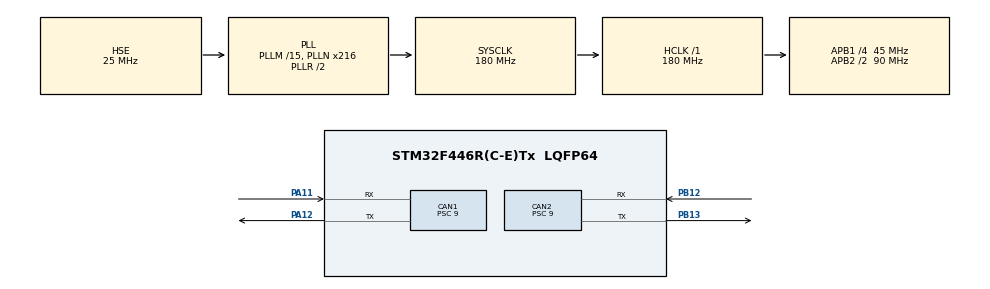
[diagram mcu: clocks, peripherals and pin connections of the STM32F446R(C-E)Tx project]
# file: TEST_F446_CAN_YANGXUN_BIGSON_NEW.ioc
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CAN1.BS1=CAN_BS1_2TQ
CAN1.BS2=CAN_BS2_2TQ
CAN1.CalculateBaudRate=1000000
CAN1.CalculateTimeBit=1000
CAN1.CalculateTimeQuantum=200.0
CAN1.Prescaler=9
CAN2.BS1=CAN_BS1_2TQ
CAN2.BS2=CAN_BS2_2TQ
CAN2.CalculateBaudRate=1000000
CAN2.CalculateTimeBit=1000
CAN2.CalculateTimeQuantum=200.0
CAN2.Prescaler=9
Mcu.Family=STM32F4
Mcu.Name=STM32F446R(C-E)Tx
Mcu.Package=LQFP64
NVIC.CAN1_RX0_IRQn=true\:0\:0\:false\:false\:true\:true\:true\:true
NVIC.CAN1_SCE_IRQn=true\:0\:0\:false\:false\:true\:true\:true\:true
NVIC.CAN2_RX1_IRQn=true\:0\:0\:false\:false\:true\:true\:true\:true
NVIC.CAN2_SCE_IRQn=true\:0\:0\:false\:false\:true\:true\:true\:true
NVIC.PriorityGroup=NVIC_PRIORITYGROUP_4
PA11.Mode=CAN_Activate
PA11.Signal=CAN1_RX
PA12.Mode=CAN_Activate
PA12.Signal=CAN1_TX
PA13.Mode=Serial_Wire
PA13.Signal=SYS_JTMS-SWDIO
PA14.Mode=Serial_Wire
PA14.Signal=SYS_JTCK-SWCLK
PB12.Mode=CAN_Activate
PB12.Signal=CAN2_RX
PB13.Mode=CAN_Activate
PB13.Signal=CAN2_TX
PH0-OSC_IN.Mode=HSE-External-Oscillator
PH0-OSC_IN.Signal=RCC_OSC_IN
PH1-OSC_OUT.Mode=HSE-External-Oscillator
PH1-OSC_OUT.Signal=RCC_OSC_OUT
ProjectManager.HeapSize=0x200
ProjectManager.StackSize=0x400
ProjectManager.TargetToolchain=MDK-ARM V5.32
RCC.AHBFreq_Value=180000000
RCC.APB1CLKDivider=RCC_HCLK_DIV4
RCC.APB1Freq_Value=45000000
RCC.APB1TimFreq_Value=90000000
RCC.APB2CLKDivider=RCC_HCLK_DIV2
RCC.APB2Freq_Value=90000000
RCC.APB2TimFreq_Value=180000000
RCC.CortexFreq_Value=180000000
RCC.HCLKFreq_Value=180000000
RCC.PLLM=15
RCC.PLLN=216
RCC.PLLSourceVirtual=RCC_PLLSOURCE_HSE
RCC.SYSCLKFreq_VALUE=180000000
RCC.SYSCLKSource=RCC_SYSCLKSOURCE_PLLRCLK
RCC.USBFreq_Value=180000000
RCC.VCOOutputFreq_Value=360000000
board=custom

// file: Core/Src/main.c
/* USER CODE BEGIN Header */
/**
  ******************************************************************************
  * @file           : main.c
  * @brief          : Main program body
  ******************************************************************************
  * @attention
  *
  * Copyright (c) 2023 STMicroelectronics.
  * All rights reserved.
  *
  * This software is licensed under terms that can be found in the LICENSE file
  * in the root directory of this software component.
  * If no LICENSE file comes with this software, it is provided AS-IS.
  *
  ******************************************************************************
  */
/* USER CODE END Header */
#include "main.h"
#include "can.h"
#include "gpio.h"

/* USER CODE BEGIN Includes */
#include "RM3508.h"
#include "can_bsp.h"
/* USER CODE END Includes */

void SystemClock_Config(void);

int main(void)
{

  /* MCU Configuration--------------------------------------------------------*/

  /* Reset of all peripherals, Initializes the Flash interface and the Systick. */
  HAL_Init();

  /* Configure the system clock */
  SystemClock_Config();

  /* Initialize all configured peripherals */
  MX_GPIO_Init();
  MX_CAN1_Init();
  MX_CAN2_Init();
  /* USER CODE BEGIN 2 */
	CAN_Init(&hcan1);
	CAN_Init(&hcan2);

  /* USER CODE END 2 */

  /* Infinite loop */
  /* USER CODE BEGIN WHILE */
  while (1)
  {
		RM3508_Set_Speed(1000,2);
		HAL_Delay(10);
    /* USER CODE END WHILE */

  }
}

void SystemClock_Config(void)
{
  RCC_OscInitTypeDef RCC_OscInitStruct = {0};
  RCC_ClkInitTypeDef RCC_ClkInitStruct = {0};

  /** Configure the main internal regulator output voltage
  */
  __HAL_RCC_PWR_CLK_ENABLE();
  __HAL_PWR_VOLTAGESCALING_CONFIG(PWR_REGULATOR_VOLTAGE_SCALE1);

  /** Initializes the RCC Oscillators according to the specified parameters
  * in the RCC_OscInitTypeDef structure.
  */
  RCC_OscInitStruct.OscillatorType = RCC_OSCILLATORTYPE_HSE;
  RCC_OscInitStruct.HSEState = RCC_HSE_ON;
  RCC_OscInitStruct.PLL.PLLState = RCC_PLL_ON;
  RCC_OscInitStruct.PLL.PLLSource = RCC_PLLSOURCE_HSE;
  RCC_OscInitStruct.PLL.PLLM = 15;
  RCC_OscInitStruct.PLL.PLLN = 216;
  RCC_OscInitStruct.PLL.PLLP = RCC_PLLP_DIV2;
  RCC_OscInitStruct.PLL.PLLQ = 2;
  RCC_OscInitStruct.PLL.PLLR = 2;
  if (HAL_RCC_OscConfig(&RCC_OscInitStruct) != HAL_OK)
  {
    Error_Handler();
  }

  /** Activate the Over-Drive mode
  */
  if (HAL_PWREx_EnableOverDrive() != HAL_OK)
  {
    Error_Handler();
  }

  /** Initializes the CPU, AHB and APB buses clocks
  */
  RCC_ClkInitStruct.ClockType = RCC_CLOCKTYPE_HCLK|RCC_CLOCKTYPE_SYSCLK
                              |RCC_CLOCKTYPE_PCLK1|RCC_CLOCKTYPE_PCLK2;
  RCC_ClkInitStruct.SYSCLKSource = RCC_SYSCLKSOURCE_PLLRCLK;
  RCC_ClkInitStruct.AHBCLKDivider = RCC_SYSCLK_DIV1;
  RCC_ClkInitStruct.APB1CLKDivider = RCC_HCLK_DIV4;
  RCC_ClkInitStruct.APB2CLKDivider = RCC_HCLK_DIV2;

  if (HAL_RCC_ClockConfig(&RCC_ClkInitStruct, FLASH_LATENCY_5) != HAL_OK)
  {
    Error_Handler();
  }
}

/* USER CODE BEGIN 4 */
/*FIFO0的回调函数*/
void HAL_CAN_RxFifo1MsgPendingCallback(CAN_HandleTypeDef *hcan)
{
	if(hcan->Instance == hcan2.Instance)
	{
		CAN_RxHeaderTypeDef RxMessage;
	uint8_t RxData[8] = {0};

	HAL_CAN_GetRxMessage(hcan, CAN_RX_FIFO1, &RxMessage, RxData);
		if(RxMessage.IDE==CAN_ID_STD)
		{
			if(RxMessage.StdId>=0x201&&RxMessage.StdId<=0x208)
			{
				RM3508_Get_Feedback(RxMessage.StdId, RxData);
			}
		}

	/*自己写解析函数*/

	}
}

/*FIFO0的回调函数*/
void HAL_CAN_RxFifo0MsgPendingCallback(CAN_HandleTypeDef *hcan)
{
	if(hcan->Instance == hcan1.Instance)
	{
		CAN_RxHeaderTypeDef RxMessage;
	uint8_t RxData[8] = {0};

	HAL_CAN_GetRxMessage(hcan, CAN_RX_FIFO0, &RxMessage, RxData);
		if(RxMessage.IDE==CAN_ID_STD)
		{
			if(RxMessage.StdId>=0x201&&RxMessage.StdId<=0x208)
			{
				RM3508_Get_Feedback(RxMessage.StdId, RxData);
			}
		}
	/*自己写解析函数*/

	}
}

/* USER CODE END 4 */

void Error_Handler(void)
{
  __disable_irq();
  while (1)
  {
  }
}
